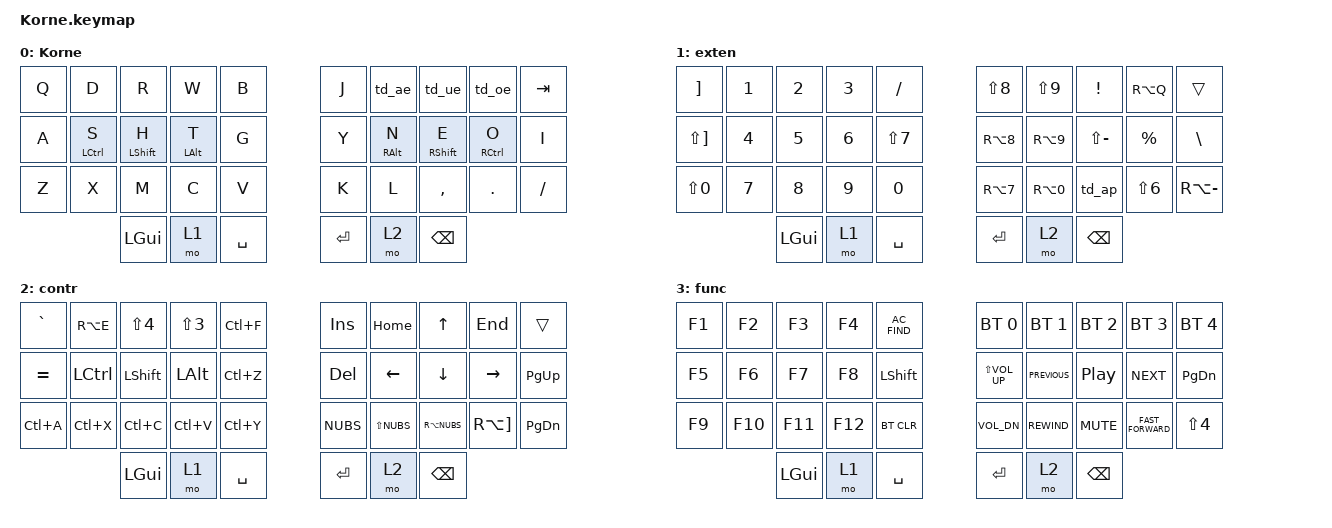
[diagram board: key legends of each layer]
#include <behaviors.dtsi>
#include <dt-bindings/zmk/bt.h>
#include <dt-bindings/zmk/keys.h>

/ {
    chosen { zmk,matrix_transform = &five_column_transform; };
};

/ {
    combos {
        compatible = "zmk,combos";

        escape {
            bindings = <&kp ESCAPE>;
            key-positions = <0 1>;
        };

        LOCK {
            bindings = <&kp C_SLEEP>;
            key-positions = <32 31 30>;
        };

        SZ {
            bindings = <&kp MINUS>;
            key-positions = <11 20>;
        };

        altF4 { 
            bindings = <&kp LA(F4)>;
            key-positions = <0 4>;
        };

        save { 
        bindings = <&kp LC(S)>;
        key-positions = <10 14>;
        };
    };

    behaviors {
        hrm: home_row_mods {
            compatible = "zmk,behavior-hold-tap";
            #binding-cells = <2>;
            flavor = "tap-preferred";
            tapping-term-ms = <200>;
            bindings = <&kp>, <&kp>;
        };
        
        td_oe: tap_dance_oe {
            compatible = "zmk,behavior-tap-dance";
            #binding-cells = <0>;
            tapping-term-ms = <200>;
            bindings = <&kp P>, <&kp SEMI>;
        };
        
        td_ue: tap_dance_ue {
            compatible = "zmk,behavior-tap-dance";
            #binding-cells = <0>;
            tapping-term-ms = <200>;
            bindings = <&kp U>, <&kp LBKT> ;
        };
        
        td_ae: tap_dance_ae {
            compatible = "zmk,behavior-tap-dance";
            #binding-cells = <0>;
            tapping-term-ms = <200>;
            bindings = <&kp F>, <&kp SQT> ;
        };
    
        td_ap: tap_dance_apost {
                compatible = "zmk,behavior-tap-dance";
                #binding-cells = <0>;
                tapping-term-ms = <200>;
                bindings = <&kp LS(N2)>, <&kp LS(BACKSLASH)> ;
            };

    keymap {
        compatible = "zmk,keymap";

        base {
            label = "Korne";

            // -----------------------------------------------------------------------------------------
            // |  Q  |  D  |  R  |  W  |  B  |   |  J  |  F   |  U  |  P  | TAB |
            // |  A  |  S  |  H  |  T  |  G  |   |  Y  |  N   |  E  |  O  |  I  |
            // |  Z  |  X  |  M  |  C  |  V  |   |  K  |  L   |  ,  |  .  |  -  |
            //             | GUI | EXT | SPC |   | ENT | CON  |BSPC |
            // -----------------------------------------------------------------------------------------

            bindings = <
  &kp Q  &kp D               &kp R             &kp W           &kp B             &kp J      &td_ae           &td_ue             &td_oe               &kp TAB
  &kp A  &hrm LEFT_CONTROL S &hrm LEFT_SHIFT H &hrm LEFT_ALT T &kp G             &kp Y      &hrm RIGHT_ALT N &hrm RIGHT_SHIFT E &hrm RIGHT_CONTROL O &kp I
  &kp Z  &kp X               &kp M             &kp C           &kp V             &kp K      &kp L            &kp COMMA          &kp DOT              &kp FSLH
                             &kp LGUI          &mo 1           &kp SPACE         &kp ENTER  &mo 2            &kp BSPC
            >;
        };

        exten {
            bindings = <
  &kp RIGHT_BRACKET     &kp N1  &kp N2    &kp N3  &kp SLASH           &kp LS(N8)  &kp LS(N9)  &kp EXCLAMATION  &kp RA(Q)          &trans
  &kp LS(RIGHT_BRACKET) &kp N4  &kp N5    &kp N6  &kp LS(N7)          &kp RA(N8)  &kp RA(N9)  &kp LS(MINUS)    &kp PERCENT        &kp BACKSLASH
  &kp LS(N0)            &kp N7  &kp N8    &kp N9  &kp N0              &kp RA(N7)  &kp RA(N0)  &td_ap           &kp LS(N6)         &kp RA(MINUS)
                                &kp LGUI  &mo 1   &kp SPACE           &kp ENTER   &mo 2       &kp BSPC
            >;
        };

        contr {
            bindings = <
  &kp GRAVE  &kp RA(E)         &kp LS(N4)      &kp LS(N3)        &kp LC(F)          &kp INS        &kp HOME        &kp UP        &kp END                &trans
  &kp EQUAL  &kp LEFT_CONTROL  &kp LEFT_SHIFT  &kp LEFT_ALT      &kp LC(Z)          &kp DELETE     &kp LEFT        &kp DOWN      &kp RIGHT              &kp PAGE_UP
  &kp LC(A)  &kp LC(X)         &kp LC(C)       &kp LC(V)         &kp LC(Y)          &kp NUBS       &kp LS(NUBS)    &kp RA(NUBS)  &kp RA(RIGHT_BRACKET)  &kp PAGE_DOWN
                               &kp LGUI        &mo 1             &kp SPACE          &kp ENTER      &mo 2           &kp BSPC
            >;
        };

        func {
            bindings = <
  &kp F1  &kp F2   &kp F3    &kp F4   &kp C_AC_FIND          &bt BT_SEL 0      &bt BT_SEL 1    &bt BT_SEL 2      &bt BT_SEL 3        &bt BT_SEL 4
  &kp F5  &kp F6   &kp F7    &kp F8   &kp LEFT_SHIFT         &kp LS(C_VOL_UP)  &kp C_PREVIOUS  &kp C_PLAY_PAUSE  &kp C_NEXT          &kp PAGE_DOWN
  &kp F9  &kp F10  &kp F11   &kp F12  &bt BT_CLR             &kp C_VOL_DN      &kp C_REWIND    &kp C_MUTE        &kp C_FAST_FORWARD  &kp LS(NUMBER_4)
                   &kp LGUI  &mo 1    &kp SPACE              &kp ENTER         &mo 2           &kp BSPC
            >;
        };
    };

    conditional_layers {
        compatible = "zmk,conditional-layers";

        Functionlayer {
            if-layers = <1 2>;
            then-layer = <3>;
        };
    };
};
};
